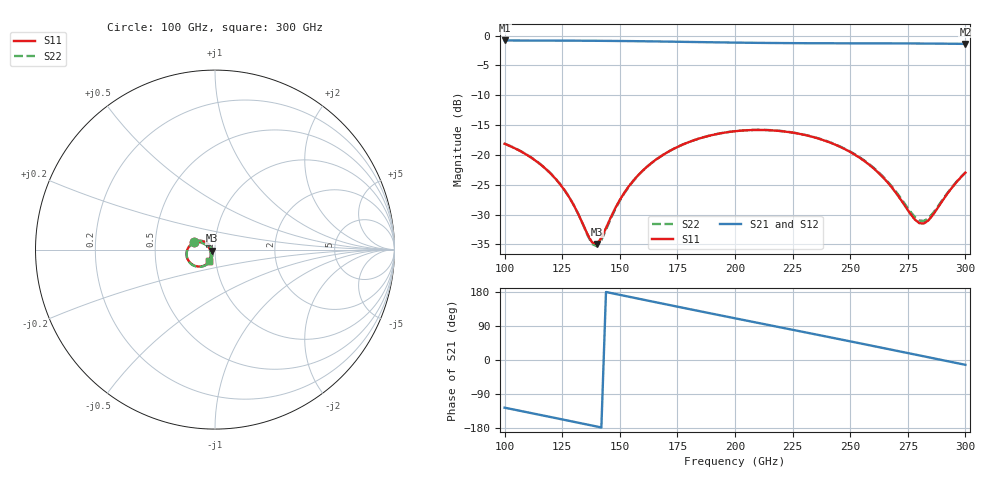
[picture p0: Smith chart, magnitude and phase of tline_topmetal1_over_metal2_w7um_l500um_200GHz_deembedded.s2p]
! Created with skrf 2.2.0 (http://scikit-rf.org).
# GHz S DB R 50.0
! Port[1] = P1
! Port[2] = P2
!freq dBS11 angS11 dBS21 angS21 dBS12 angS12 dBS22 angS22
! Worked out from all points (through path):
!   101 points, 100 GHz to 300 GHz, reference 50 ohm
!   highest |S21| = -0.81 dB at 100 GHz (marker M1); lowest = -1.4 dB at 300 GHz (marker M2)
!   group delay of S21, straight-line fit = 3.42 ps
!   lowest |S11| = -34.9 dB at 140 GHz (marker M3), VSWR 1.04, Z = 48.3 - j0.601 ohm
!   |S11| at or under -10 dB: start of sweep to end of sweep
!   |S22| runs from -35.3 to -15.8 dB; largest |S21 - S12| = 1e-14
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100  -18.13 160.6  -0.81 -125.8  -0.81 -125.8  -18.10 160.9
110  -20.07 150.4  -0.83 -138.2  -0.83 -138.2  -20.03 150.6
120  -23.13 142.5  -0.84 -150.6  -0.84 -150.6  -23.09 142.5
128  -27.08 141.6  -0.85 -160.5  -0.85 -160.5  -27.05 141.3
134  -31.59 153.1  -0.86 -168.0  -0.86 -168.0  -31.64 152.1
138  -34.66 179.9  -0.87 -173.0  -0.87 -173.0  -34.92 178.8
140  -34.92 -159.7  -0.87 -175.5  -0.87 -175.5  -35.29 -160.0
142  -33.92 -141.3  -0.88 -178.1  -0.88 -178.1  -34.26 -140.6
150  -27.54 -114.1  -0.90 171.9  -0.90 171.9  -27.66 -112.6
154  -25.22 -112.8  -0.92 166.9  -0.92 166.9  -25.29 -111.3
160  -22.61 -115.0  -0.95 159.4  -0.95 159.4  -22.65 -113.6
168  -20.17 -121.1  -0.99 149.5  -0.99 149.5  -20.19 -119.8
184  -17.30 -136.8  -1.08 129.7  -1.08 129.7  -17.30 -135.6
200  -16.03 -153.8  -1.17 110.1  -1.17 110.1  -16.01 -152.5
216  -15.88 -170.8  -1.24 90.6  -1.24 90.6  -15.86 -169.4
234  -17.01 170.7  -1.28 68.8  -1.28 68.8  -16.97 172.4
254  -20.44 153.5  -1.29 44.3  -1.29 44.3  -20.36 155.6
268  -25.42 150.9  -1.31 27.0  -1.31 27.0  -25.24 153.4
278  -30.81 176.4  -1.32 14.6  -1.32 14.6  -30.38 178.4
282  -31.49 -158.5  -1.33 9.6  -1.33 9.6  -31.06 -157.9
286  -30.00 -136.3  -1.34 4.7  -1.34 4.7  -29.72 -136.4
300  -22.98 -117.5  -1.39 -12.7  -1.39 -12.7  -22.93 -116.6
